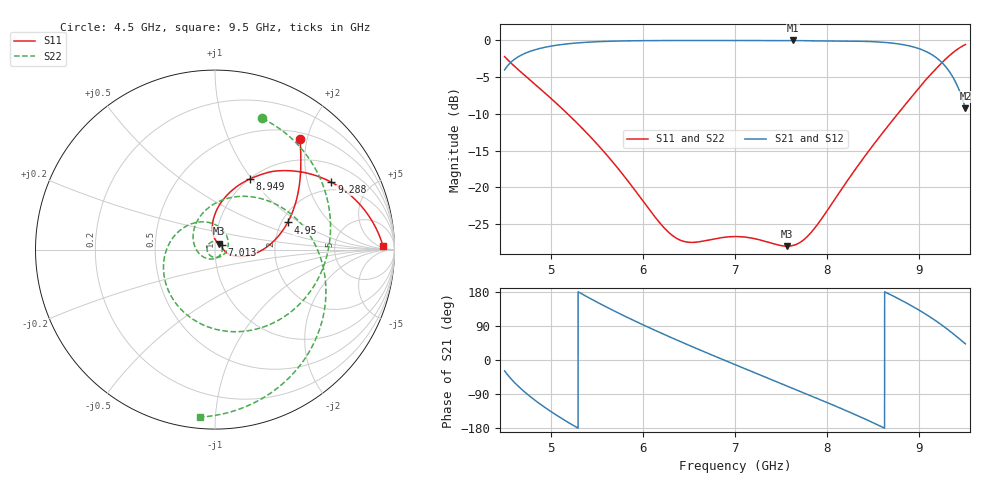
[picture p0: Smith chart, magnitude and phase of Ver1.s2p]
! TOUCHSTONE file generated by CST MICROWAVE STUDIO
! Date and time: Sun Mar  9 23:06:01 2025
! Project name: Mas_optimizable_C_dobleP.cst
! Parameters = {Lc4=5.13164; Cz=-21.3846; H=17; Hbl=8.88143; Hbt=5; Hl=7.58026; Hposte=4.23344; Hposte2=2.90011; Ht=10.006; L=2; Lb1=2; Lb2=3.40895; Lc1=5.22891; Lc2=1.15568; Lc3=0.1; Ldielectrico=9.906; Lextra=8.382; Lextra2=12.446; Lp1=7; Lp2=8; Lp3=2; Pb2=0; Rposte=0.9; Rposte2=0.816232; W=34; W2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
! Header version: 2018
! Port assignment regex: !\s*Touchstone port\s*([0-9]+)\s*=\s*(CST MWS port|CST DS port)\s*([0-9]+|Zmin|Zmax)\s*\(\"(.*)\"\)(\s*mode\s*([0-9]+))?.*
! Touchstone port assignment:
! Touchstone port 1 = CST MWS port 1 ("")
! Touchstone port 2 = CST MWS port 2 ("")
! S-Parameters are not renormalized. Unphysical impedance of 50 will be written to the file.
# GHz S MA R 50
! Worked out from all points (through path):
!   5001 points, 4.5 GHz to 9.5 GHz, reference per port
!   highest |S21| = 0.00 dB at 7.632 GHz (marker M1); lowest = -9.2 dB at 9.5 GHz (marker M2)
!   lowest |S11| = -28.0 dB at 7.566 GHz (marker M3), VSWR 1.08
!   |S11| at or under -10 dB: 5.185 GHz to 8.765 GHz (3.58 GHz wide, 51.3 % of centre)
!   |S22| runs from -27.9 to -0.6 dB; largest |S21 - S12| = 3.4e-05
!   S11 on the Smith chart (normalised r, x): 4.5 GHz: 0.61, +1.88; 4.95 GHz: 2.16, +0.80; 7.013 GHz: 1.08, +0.06; 8.949 GHz: 1.00, +0.97; 9.288 GHz: 1.66, +2.84; 9.5 GHz: 29, +7
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4.5  0.7762 52.3  0.63 -28.7  0.63 -28.7  0.7765 70.2
4.573  0.6983 46.8  0.7151 -50.6  0.7151 -50.6  0.7033 32.1
4.647  0.6335 41.3  0.7735 -69.0  0.7735 -69.0  0.6331 0.8
4.789  0.5297 31.2  0.8479 -98.6  0.8479 -98.6  0.5284 -48.3
4.95  0.4321 20.5  0.9016 -127.3  0.9016 -127.3  0.4323 -95.2
5.128  0.3418 9.6  0.9395 -155.5  0.9395 -155.5  0.3419 -140.6
5.334  0.2557 -1.5  0.9665 175.0  0.9665 175.0  0.2557 171.6
5.533  0.1883 -10.3  0.9819 148.8  0.9819 148.8  0.1884 128.0
5.768  0.126 -17.2  0.9918 119.9  0.9918 119.9  0.126 77.1
6.167  0.05915 -11.6  0.998 74.5  0.998 74.5  0.0591 -19.4
6.603  0.04265 23.1  0.999 28.2  0.999 28.2  0.04292 -147.2
7  0.04636 35.4  0.9988 -12.2  0.9988 -12.2  0.04647 120.0
7.013  0.04636 35.6  0.9988 -13.5  0.9988 -13.5  0.04646 117.2
7.566  0.03989 57.6  0.9993 -68.6  0.9993 -68.6  0.04006 -14.9
7.632  0.04037 64.1  0.9996 -75.3  0.9996 -75.3  0.04071 -34.5
7.834  0.05012 84.4  0.9937 -95.6  0.9937 -95.6  0.051 -95.0
8.315  0.1353 96.1  0.9888 -145.3  0.9888 -145.3  0.1362 153.4
8.667  0.265 82.6  0.9643 174.8  0.9643 174.8  0.2649 87.0
8.949  0.4372 63.9  0.8986 138.4  0.8986 138.4  0.4377 32.8
9.148  0.6094 46.1  0.792 108.5  0.792 108.5  0.6102 -9.1
9.288  0.7494 30.1  0.6609 84.3  0.6609 84.3  0.7503 -41.5
9.5  0.9376 0.9  0.3453 42.6  0.3453 42.6  0.9384 -95.8
